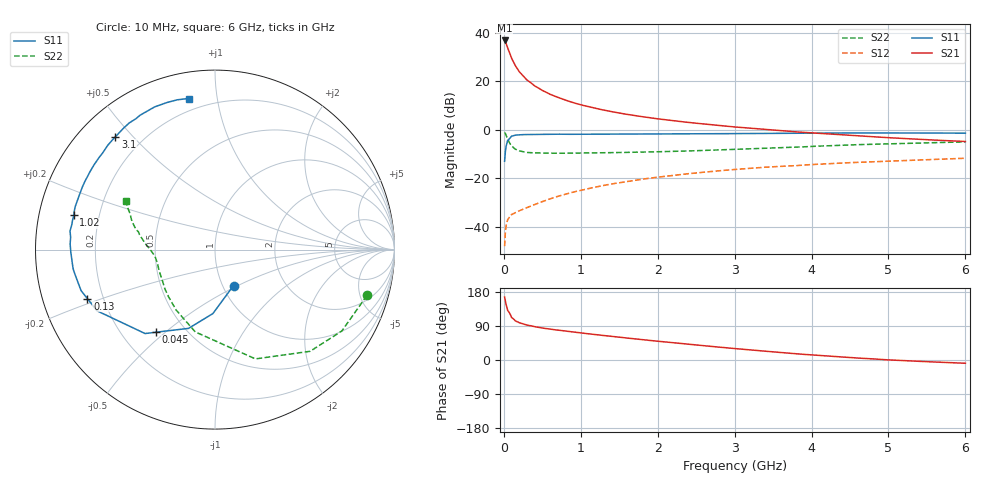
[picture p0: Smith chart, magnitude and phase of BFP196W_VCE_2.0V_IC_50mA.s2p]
! Infineon Technologies  Discrete & RF Semiconductors
! BFP196W
! VCE = 2.0 V,  IC =  50mA
! Common Emitter S-Parameters:  Jan 2016
# GHz  S  MA  R  50
!  f  S11  S21  S12  S22
! GHz  MAG  ANG  MAG  ANG  MAG  ANG  MAG  ANG
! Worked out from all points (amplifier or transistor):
!   210 points, 10 MHz to 6 GHz, reference 50 ohm
!   highest |S21| = 36.9 dB at 10 MHz (marker M1)
!   |S21| within 3 dB of that: start of sweep to 48.45 MHz
!   unconditionally stable (mu >= 1): 569.6 MHz to 3.377 GHz
!   at 185 MHz: K = 0.58, MSG = 29.2 dB, |S12| = -33.6 dB
!   at 1.52 GHz: K = 1.12, MAG = 12.2 dB, |S12| = -21.7 dB
!   at 6 GHz: K = 0.97, MSG = 3.5 dB, |S12| = -11.7 dB
!   S11 on the Smith chart (normalised r, x): 10 MHz: 1.12, -0.47; 45 MHz: 0.34, -0.47; 130 MHz: 0.14, -0.18; 1.02 GHz: 0.11, +0.12; 3.1 GHz: 0.11, +0.45; 6 GHz: 0.13, +0.83
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0.01  0.2252 -62.7  69.62 166.0  0.004 76.7  0.8844 -16.8
0.02  0.3567 -91.9  66.37 155.6  0.0078 67.6  0.8396 -32.7
0.03  0.4632 -108.6  60.59 145.7  0.0107 60.9  0.7759 -46.9
0.045  0.566 -125.6  51.14 135.1  0.0132 51.2  0.67 -63.3
0.05  0.6087 -129.8  48.48 130.7  0.0141 48.7  0.6493 -69.7
0.1  0.7408 -152.6  29.77 112.3  0.0179 39.0  0.4715 -103.5
0.13  0.7616 -159.0  24.33 107.6  0.0189 38.9  0.4229 -114.3
0.15  0.7804 -163.0  20.83 103.1  0.0196 38.8  0.4003 -122.7
0.2  0.7888 -168.5  15.83 98.4  0.0214 41.3  0.3688 -134.6
0.24  0.7958 -171.4  13.44 95.6  0.0228 42.5  0.3569 -140.6
0.3  0.7988 -174.8  10.67 92.2  0.0249 46.4  0.3421 -148.2
0.4  0.8035 -179.0  8.071 87.8  0.0288 50.3  0.3354 -155.4
0.5  0.8078 177.7  6.494 84.4  0.0331 53.8  0.3324 -160.3
0.6  0.8072 175.1  5.419 81.4  0.0378 56.5  0.3302 -163.7
0.8  0.8094 170.4  4.09 76.2  0.047 59.7  0.3296 -167.7
1.02  0.8097 166.3  3.223 71.1  0.0576 61.1  0.3329 -170.8
1.4  0.8144 159.2  2.375 62.3  0.0764 61.3  0.3397 -174.2
2.02  0.8205 148.6  1.673 49.2  0.1067 58.3  0.3541 -178.5
3.1  0.8387 131.4  1.116 28.5  0.1567 49.3  0.4013 173.0
4.1  0.8577 117.9  0.848 12.1  0.196 40.6  0.4622 164.6
5.1  0.8614 107.2  0.676 -0.6  0.2298 32.2  0.5206 156.3
6  0.8545 99.9  0.575 -8.6  0.2598 25.8  0.5644 151.4
